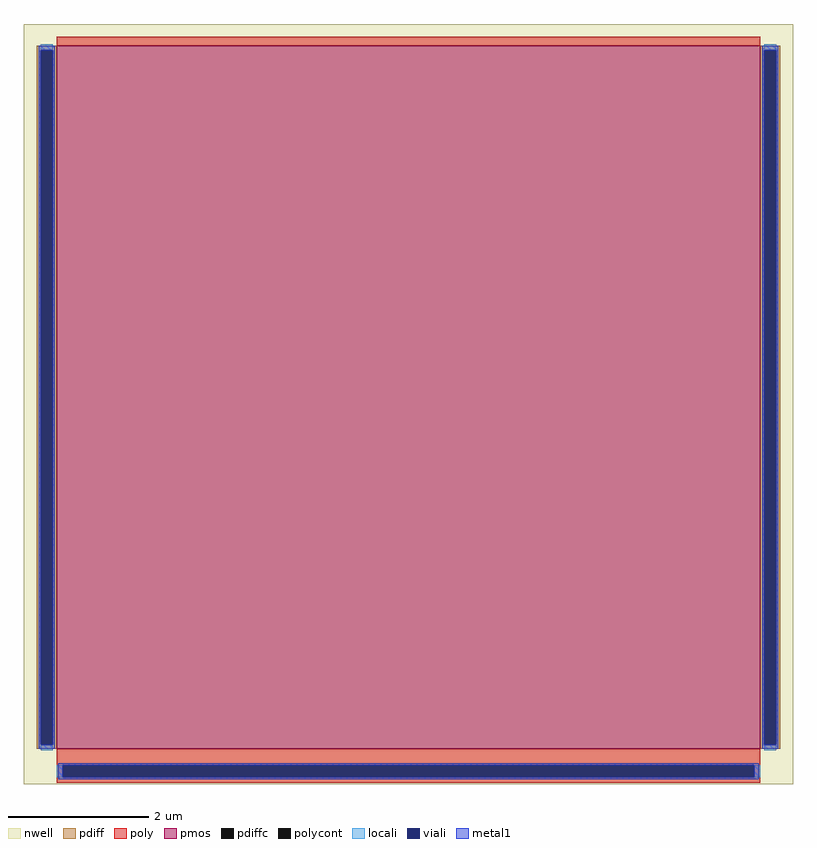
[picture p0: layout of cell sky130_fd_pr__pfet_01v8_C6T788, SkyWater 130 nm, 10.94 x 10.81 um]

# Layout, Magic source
magic
tech sky130A
magscale 1 2
<< nwell >>
rect -1094 -1064 1094 1098
<< pmos >>
rect -1000 -964 1000 1036
<< pdiff >>
rect -1058 1024 -1000 1036
rect -1058 -952 -1046 1024
rect -1012 -952 -1000 1024
rect -1058 -964 -1000 -952
rect 1000 1024 1058 1036
rect 1000 -952 1012 1024
rect 1046 -952 1058 1024
rect 1000 -964 1058 -952
<< pdiffc >>
rect -1046 -952 -1012 1024
rect 1012 -952 1046 1024
<< poly >>
rect -1000 1036 1000 1062
rect -1000 -1011 1000 -964
rect -1000 -1045 -984 -1011
rect 984 -1045 1000 -1011
rect -1000 -1061 1000 -1045
<< polycont >>
rect -984 -1045 984 -1011
<< locali >>
rect -1046 1024 -1012 1040
rect -1046 -968 -1012 -952
rect 1012 1024 1046 1040
rect 1012 -968 1046 -952
rect -1000 -1045 -984 -1011
rect 984 -1045 1000 -1011
<< viali >>
rect -1046 -952 -1012 1024
rect 1012 -952 1046 1024
rect -984 -1045 984 -1011
<< metal1 >>
rect -1052 1024 -1006 1036
rect -1052 -952 -1046 1024
rect -1012 -952 -1006 1024
rect -1052 -964 -1006 -952
rect 1006 1024 1052 1036
rect 1006 -952 1012 1024
rect 1046 -952 1052 1024
rect 1006 -964 1052 -952
rect -996 -1011 996 -1005
rect -996 -1045 -984 -1011
rect 984 -1045 996 -1011
rect -996 -1051 996 -1045
<< properties >>
string gencell sky130_fd_pr__pfet_01v8
string library sky130
string parameters w 10.0 l 10.0 m 1 nf 1 diffcov 100 polycov 100 guard 0 glc 1 grc 1 gtc 1 gbc 1 tbcov 100 rlcov 100 topc 0 botc 1 poverlap 0 doverlap 1 lmin 0.15 wmin 0.42 compatible {sky130_fd_pr__pfet_01v8  sky130_fd_pr__pfet_01v8_lvt sky130_fd_pr__pfet_01v8_hvt  sky130_fd_pr__pfet_g5v0d10v5} full_metal 1 viasrc 100 viadrn 100 viagate 100 viagb 0 viagr 0 viagl 0 viagt 0
<< end >>
